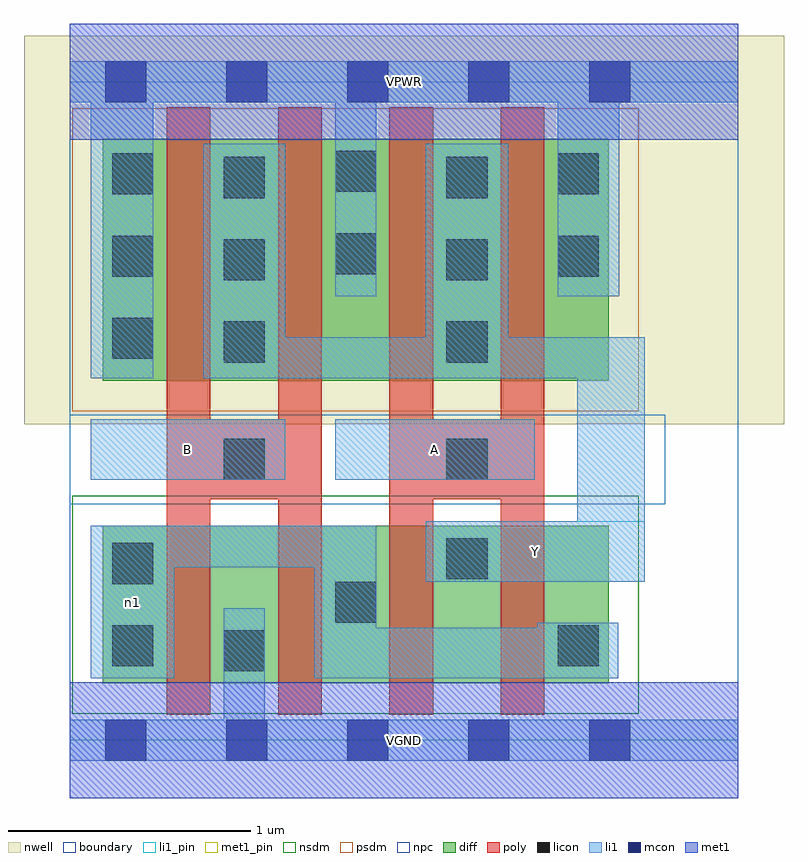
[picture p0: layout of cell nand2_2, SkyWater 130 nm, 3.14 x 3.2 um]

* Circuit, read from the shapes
.subckt nand2_2 A B VGND VPWR Y n1
XM1 VGND B n1 VSUBS sky130_fd_pr__nfet_01v8 w=0.65 l=0.18 m=2
XM2 Y A n1 VSUBS sky130_fd_pr__nfet_01v8 w=0.65 l=0.18 m=2
XM3 Y B VPWR n2 sky130_fd_pr__pfet_01v8 w=1 l=0.18 m=2
XM4 Y A VPWR n2 sky130_fd_pr__pfet_01v8 w=1 l=0.18 m=2
.ends

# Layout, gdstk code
import gdstk
lib = gdstk.Library(unit=1e-6, precision=1e-09)
def R(c, l, rs):  # rectangles x0, y0, x1, y1
    for r in rs: c.add(gdstk.rectangle(r[:2], r[2:], *l))
def A(c, l, x, y, w, h, nx, ny, dx, dy):  # array of equal rectangles
    R(c, l, [(x+i*dx, y+j*dy, x+i*dx+w, y+j*dy+h) for i in range(nx) for j in range(ny)])
nwell = (64, 20)
diff = (65, 20)
poly = (66, 20)
licon = (66, 44)
li1_pin = (67, 16)
li1 = (67, 20)
mcon = (67, 44)
met1_pin = (68, 16)
met1 = (68, 20)
nsdm = (93, 44)
psdm = (94, 20)
npc = (95, 20)
boundary = (235, 4)

nand2_2 = lib.new_cell('nand2_2')
R(nand2_2, nwell, [(-0.19,1.305,2.95,2.91), (0,1.305,2.76,2.91)])
R(nand2_2, diff, [(0.135,0.235,2.225,0.885), (0.135,1.485,2.225,2.485)])
A(nand2_2, poly, 0.4, 0.105, 0.18, 2.51, 4, 1, 0.46, 0)
R(nand2_2, poly, [(0.4,0.995,1.04,1.325), (1.32,0.995,1.96,1.325)])
A(nand2_2, licon, 0.635, 1.56, 0.17, 0.17, 1, 3, 0, 0.34)
A(nand2_2, licon, 1.555, 1.56, 0.17, 0.17, 1, 3, 0, 0.34)
A(nand2_2, licon, 0.175, 1.575, 0.17, 0.17, 1, 3, 0, 0.34)
R(nand2_2, licon, [(0.635,0.285,0.805,0.455), (0.175,0.305,0.345,0.475), (2.015,0.305,2.185,0.475), (1.095,0.485,1.265,0.655), (0.175,0.645,0.345,0.815), (1.555,0.665,1.725,0.835), (0.635,1.075,0.805,1.245), (1.555,1.075,1.725,1.245), (2.015,1.915,2.185,2.085), (1.095,1.925,1.265,2.095), (2.015,2.255,2.185,2.425), (1.095,2.265,1.265,2.435)])
R(nand2_2, li1_pin, [(1.47,0.655,2.375,0.905), (0.085,1.075,0.89,1.325), (1.095,1.075,1.92,1.325)])
R(nand2_2, li1, [(0,-0.085,2.76,0.085), (0.635,-0.085,0.805,0.545), (0.085,0.255,0.43,0.885), (1.01,0.255,2.265,0.465), (1.01,0.255,1.265,0.885), (1.93,0.255,2.265,0.485), (1.47,0.655,2.375,0.905), (2.095,0.655,2.375,1.665), (0.085,0.715,1.265,0.885), (0.085,1.075,0.89,1.325), (1.095,1.075,1.92,1.325), (0.085,1.495,0.345,2.805), (0.55,1.495,0.89,2.465), (0.55,1.495,2.375,1.665), (1.47,1.495,1.81,2.465), (1.095,1.835,1.265,2.805), (2.015,1.835,2.27,2.805), (0,2.635,2.76,2.805)])
A(nand2_2, mcon, 0.145, -0.085, 0.17, 0.17, 5, 2, 0.5, 2.72)
R(nand2_2, met1_pin, [(0,-0.24,2.76,0.24), (0,2.48,2.76,2.96)])
R(nand2_2, met1, [(0,-0.24,2.76,0.24), (0,2.48,2.76,2.96)])
R(nand2_2, nsdm, [(0.01,0.11,2.35,1.01)])
R(nand2_2, psdm, [(0.01,1.36,2.35,2.61)])
R(nand2_2, npc, [(0,0.975,2.46,1.345)])
R(nand2_2, boundary, [(0,0,2.76,2.72)])
nand2_2.add(gdstk.Label('A', (1.507,1.2), layer=67, texttype=5))
nand2_2.add(gdstk.Label('B', (0.487,1.2), layer=67, texttype=5))
nand2_2.add(gdstk.Label('Y', (1.922,0.78), layer=67, texttype=5))
nand2_2.add(gdstk.Label('n1', (0.257,0.57), layer=67, texttype=5))
nand2_2.add(gdstk.Label('VPWR', (1.38,2.72), layer=68, texttype=5))
nand2_2.add(gdstk.Label('VGND', (1.38,0), layer=68, texttype=5))
nand2_2.add(gdstk.Label('A', (1.507,1.2), layer=67, texttype=16))
nand2_2.add(gdstk.Label('B', (0.487,1.2), layer=67, texttype=16))
nand2_2.add(gdstk.Label('Y', (1.922,0.78), layer=67, texttype=16))
nand2_2.add(gdstk.Label('VPWR', (1.38,2.72), layer=68, texttype=16))
nand2_2.add(gdstk.Label('VGND', (1.38,0), layer=68, texttype=16))

lib.write_gds('nand2_2.gds')
